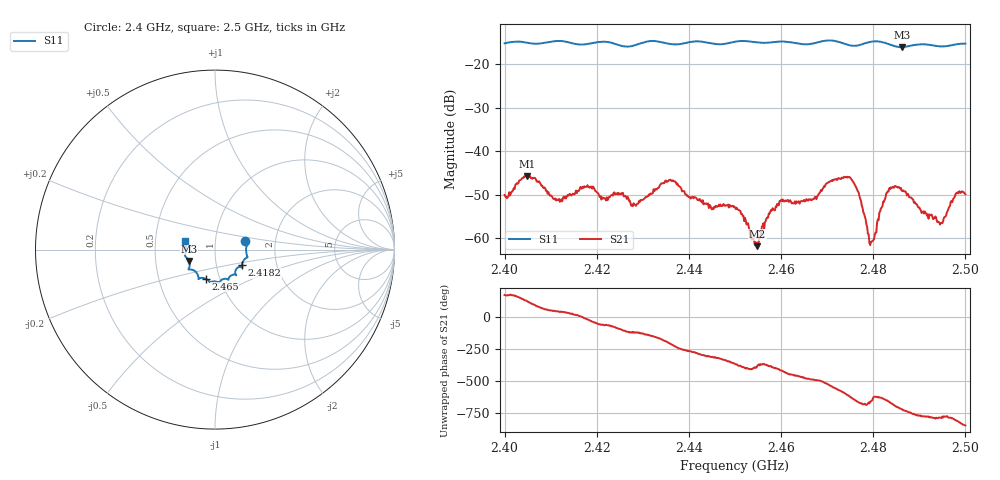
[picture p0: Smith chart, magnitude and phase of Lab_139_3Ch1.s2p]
# Hz S RI R 50
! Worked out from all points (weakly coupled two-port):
!   601 points, 2.4 GHz to 2.5 GHz, reference 50 ohm
!   highest |S21| = -45.63 dB at 2.4048 GHz (marker M1); lowest = -61.8 dB at 2.4548 GHz (marker M2)
!   lowest |S11| = -16.0 dB at 2.4862 GHz (marker M3), VSWR 1.37, Z = 37.1 - j4.82 ohm
!   |S11| at or under -10 dB: start of sweep to end of sweep
!   S12 and S22 are empty: the file has one direction only
!   S11 on the Smith chart (normalised r, x): 2.4 GHz: 1.40, +0.13; 2.4182 GHz: 1.33, -0.23; 2.465 GHz: 0.86, -0.29; 2.5 GHz: 0.71, +0.07
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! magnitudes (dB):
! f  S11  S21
! 2.4 GHz  -15.1  -50.0
! 2.4048 GHz  -15.0  -45.6
! 2.4117 GHz  -14.6  -51.2
! 2.4167 GHz  -15.4  -48.6
! 2.4182 GHz  -15.3  -48.2
! 2.428 GHz  -15.7  -51.9
! 2.4333 GHz  -14.7  -48.4
! 2.4362 GHz  -15.3  -46.8
! 2.4448 GHz  -15.2  -53.1
! 2.45 GHz  -14.8  -52.9
! 2.4548 GHz  -14.9  -61.8
! 2.4597 GHz  -14.7  -51.4
! 2.465 GHz  -15.4  -51.1
! 2.4667 GHz  -15.2  -51.2
! 2.475 GHz  -15.6  -46.0
! 2.4768 GHz  -15.6  -49.4
! 2.4797 GHz  -14.7  -60.7
! 2.4833 GHz  -15.3  -49.2
! 2.4862 GHz  -16.0  -49.0
! 2.4945 GHz  -15.9  -56.8
! 2.4982 GHz  -15.4  -49.6
! 2.5 GHz  -15.2  -49.9
